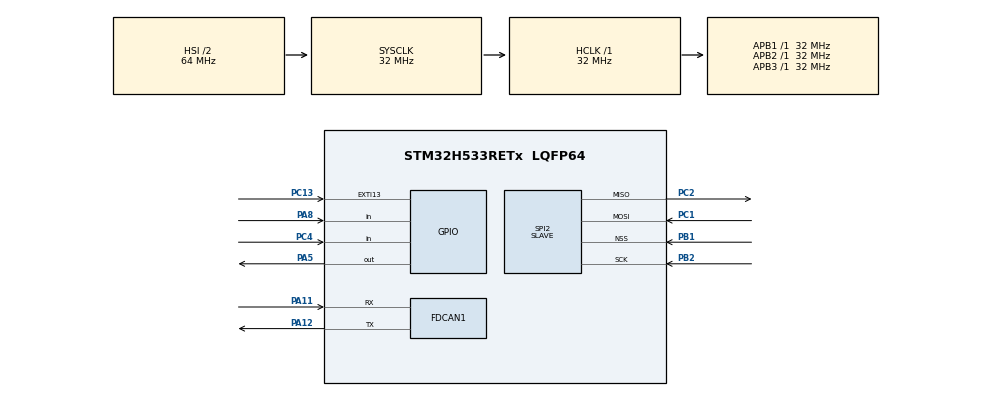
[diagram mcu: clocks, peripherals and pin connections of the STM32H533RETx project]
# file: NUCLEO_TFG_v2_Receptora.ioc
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BOOTPATH.BootPathName=LEGACY
BOOTPATH.UserSelectedBootPath=LEGACY
CORTEX_M33_NS.userName=CORTEX_M33
FDCAN1.CalculateBaudRateNominal=1011764
FDCAN1.CalculateTimeBitNominal=988
FDCAN1.CalculateTimeQuantumNominal=58.13953488372093
FDCAN1.DataSyncJumpWidth=4
FDCAN1.DataTimeSeg1=12
FDCAN1.DataTimeSeg2=4
FDCAN1.FrameFormat=FDCAN_FRAME_FD_BRS
FDCAN1.NominalPrescaler=5
FDCAN1.NominalSyncJumpWidth=4
FDCAN1.NominalTimeSeg1=12
FDCAN1.NominalTimeSeg2=4
Mcu.Family=STM32H5
Mcu.Name=STM32H533RETx
Mcu.Package=LQFP64
NUCLEO-H533RE.BUTTON=1
NUCLEO-H533RE.LD4=true
NUCLEO-H533RE.VCP=true
NVIC.EXTI13_IRQn=true\:0\:0\:false\:false\:true\:false\:true\:true
NVIC.PriorityGroup=NVIC_PRIORITYGROUP_4
PA11.Mode=FDCAN_Activate
PA11.Signal=FDCAN1_RX
PA12.Mode=FDCAN_Activate
PA12.Signal=FDCAN1_TX
PA13(JTMS/SWDIO).GPIO_Label=SWDIO
PA13(JTMS/SWDIO).Signal=DEBUG_JTMS-SWDIO
PA14(JTCK/SWCLK).GPIO_Label=SWCLK
PA14(JTCK/SWCLK).Signal=DEBUG_JTCK-SWCLK
PA15(JTDI).GPIO_Label=JTDI
PA15(JTDI).Signal=DEBUG_JTDI
PA2.Signal=USART2_TX
PA3.Signal=USART2_RX
PA5.Signal=GPIO_Output
PA8.Signal=GPIO_Input
PB1.Mode=NSS_Signal_Hard_Input
PB1.Signal=SPI2_NSS
PB2.Mode=Full_Duplex_Slave
PB2.Signal=SPI2_SCK
PB3(JTDO/TRACESWO).GPIO_Label=SWO
PB3(JTDO/TRACESWO).Signal=DEBUG_JTDO-SWO
PC1.Mode=Full_Duplex_Slave
PC1.Signal=SPI2_MOSI
PC13.Signal=GPXTI13
PC2.Mode=Full_Duplex_Slave
PC2.Signal=SPI2_MISO
PC4.Signal=GPIO_Input
ProjectManager.HeapSize=0x200
ProjectManager.StackSize=0x400
ProjectManager.TargetToolchain=STM32CubeIDE
RCC.ADCFreq_Value=32000000
RCC.AHBFreq_Value=32000000
RCC.APB1Freq_Value=32000000
RCC.APB1TimFreq_Value=32000000
RCC.APB2Freq_Value=32000000
RCC.APB2TimFreq_Value=32000000
RCC.APB3Freq_Value=32000000
RCC.CSI_VALUE=4000000
RCC.CortexFreq_Value=32000000
RCC.EPOD_VALUE=4000000
RCC.FDCANClockSelection=RCC_FDCANCLKSOURCE_PLL1Q
RCC.HCLKFreq_Value=32000000
RCC.HSE_VALUE=25000000
RCC.HSI48_VALUE=48000000
RCC.HSI_VALUE=64000000
RCC.LSE_VALUE=32768
RCC.LSIRC_VALUE=32000
RCC.PLL1Q=6
RCC.SYSCLKFreq_VALUE=32000000
RCC.USBFreq_Value=48000000
RCC.VCOOutputFreq_Value=516000000
SPI2.DataSize=SPI_DATASIZE_8BIT
SPI2.Direction=SPI_DIRECTION_2LINES
SPI2.Mode=SPI_MODE_SLAVE
SPI2.VirtualNSS=VM_NSSHARD
SPI2.VirtualType=VM_SLAVE
VP_BOOTPATH_VS_BOOTPATH.Mode=BP_Activate
VP_CORTEX_M33_NS_VS_Hclk.Mode=Hclk_Mode
VP_MEMORYMAP_VS_MEMORYMAP.Mode=CurAppReg
VP_NUCLEO-H533RE_VS_BSP_COMMON.Mode=COMMON
VP_PWR_VS_DBSignals.Mode=DisableDeadBatterySignals
VP_PWR_VS_LPOM.Mode=PowerOptimisation
VP_PWR_VS_SECSignals.Mode=Security/Privilege
board=NUCLEO-H533RE

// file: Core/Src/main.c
/* USER CODE BEGIN Header */
/**
  ******************************************************************************
  * @file           : main.c
  * @brief          : Main program body
  ******************************************************************************
  * @attention
  *
  * Copyright (c) 2026 STMicroelectronics.
  * All rights reserved.
  *
  * This software is licensed under terms that can be found in the LICENSE file
  * in the root directory of this software component.
  * If no LICENSE file comes with this software, it is provided AS-IS.
  *
  ******************************************************************************
  */
/* USER CODE END Header */
#include "main.h"

/* USER CODE BEGIN Includes */
#include <stdio.h>
/* USER CODE END Includes */

COM_InitTypeDef BspCOMInit;

FDCAN_HandleTypeDef hfdcan1;

SPI_HandleTypeDef hspi2;

void SystemClock_Config(void);
static void MX_GPIO_Init(void);
static void MX_FDCAN1_Init(void);
static void MX_SPI2_Init(void);

int main(void)
{

  /* MCU Configuration--------------------------------------------------------*/

  /* Reset of all peripherals, Initializes the Flash interface and the Systick. */
  HAL_Init();

  /* Configure the system clock */
  SystemClock_Config();

  /* Initialize all configured peripherals */
  MX_GPIO_Init();
  MX_FDCAN1_Init();
  MX_SPI2_Init();
  /* USER CODE BEGIN 2 */

  uint8_t spi_slave_tx[2] = {0x12, 0x34};  // Valor fijo de prueba (simula MAX6675)
  uint8_t spi_slave_rx[2] = {0};

  //FILTRO CAN

/*  FDCAN_FilterTypeDef sFilterConfig;

  sFilterConfig.IdType = FDCAN_STANDARD_ID;
  sFilterConfig.FilterIndex = 0;
  sFilterConfig.FilterType = FDCAN_FILTER_MASK;
  sFilterConfig.FilterConfig = FDCAN_FILTER_TO_RXFIFO0;
  sFilterConfig.FilterID1 = 0x111;
  sFilterConfig.FilterID2 = 0x7FF;
  if (HAL_FDCAN_ConfigFilter(&hfdcan1, &sFilterConfig) != HAL_OK)
  {
    Error_Handler();
  }

  if (HAL_FDCAN_Start(&hfdcan1) != HAL_OK)
  {
    Error_Handler();
  }

  printf("Nucleo B (Receptora) lista, esperando tramas...\r\n");*/

  /* USER CODE END 2 */

  /* Initialize leds */
  BSP_LED_Init(LED_GREEN);

  /* Initialize USER push-button, will be used to trigger an interrupt each time it's pressed.*/
  BSP_PB_Init(BUTTON_USER, BUTTON_MODE_EXTI);

  /* Initialize COM1 port (115200, 8 bits (7-bit data + 1 stop bit), no parity */
  BspCOMInit.BaudRate   = 115200;
  BspCOMInit.WordLength = COM_WORDLENGTH_8B;
  BspCOMInit.StopBits   = COM_STOPBITS_1;
  BspCOMInit.Parity     = COM_PARITY_NONE;
  BspCOMInit.HwFlowCtl  = COM_HWCONTROL_NONE;
  if (BSP_COM_Init(COM1, &BspCOMInit) != BSP_ERROR_NONE)
  {
    Error_Handler();
  }

  /* Infinite loop */
  /* USER CODE BEGIN WHILE */
  while (1)
  {

	  HAL_SPI_TransmitReceive(&hspi2, spi_slave_tx, spi_slave_rx, 2, HAL_MAX_DELAY);
	  FDCAN_RxHeaderTypeDef RxHeader;
	  uint8_t RxData[8];

	  if (HAL_FDCAN_GetRxFifoFillLevel(&hfdcan1, FDCAN_RX_FIFO0) > 0)
	  {
	    if (HAL_FDCAN_GetRxMessage(&hfdcan1, FDCAN_RX_FIFO0, &RxHeader, RxData) == HAL_OK)
	    {
	      uint16_t raw_s1 = (RxData[0] << 8) | RxData[1];
	      uint16_t raw_s2 = (RxData[2] << 8) | RxData[3];
	      float volt_s1 = (raw_s1 * 3.3f) / 4095.0f;
	      float volt_s2 = (raw_s2 * 3.3f) / 4095.0f;

	      printf("Recibido -> S1: %.2fV (raw=%u) | S2: %.2fV (raw=%u)\r\n",
	             volt_s1, raw_s1, volt_s2, raw_s2);

	      BSP_LED_Toggle(LED_GREEN);
	    }
	  }
    /* USER CODE END WHILE */

  }
}

void SystemClock_Config(void)
{
  RCC_OscInitTypeDef RCC_OscInitStruct = {0};
  RCC_ClkInitTypeDef RCC_ClkInitStruct = {0};

  /** Configure the main internal regulator output voltage
  */
  __HAL_PWR_VOLTAGESCALING_CONFIG(PWR_REGULATOR_VOLTAGE_SCALE3);

  while(!__HAL_PWR_GET_FLAG(PWR_FLAG_VOSRDY)) {}

  /** Initializes the RCC Oscillators according to the specified parameters
  * in the RCC_OscInitTypeDef structure.
  */
  RCC_OscInitStruct.OscillatorType = RCC_OSCILLATORTYPE_HSI|RCC_OSCILLATORTYPE_CSI;
  RCC_OscInitStruct.HSIState = RCC_HSI_ON;
  RCC_OscInitStruct.HSIDiv = RCC_HSI_DIV2;
  RCC_OscInitStruct.HSICalibrationValue = RCC_HSICALIBRATION_DEFAULT;
  RCC_OscInitStruct.CSIState = RCC_CSI_ON;
  RCC_OscInitStruct.CSICalibrationValue = RCC_CSICALIBRATION_DEFAULT;
  RCC_OscInitStruct.PLL.PLLState = RCC_PLL_ON;
  RCC_OscInitStruct.PLL.PLLSource = RCC_PLL1_SOURCE_CSI;
  RCC_OscInitStruct.PLL.PLLM = 1;
  RCC_OscInitStruct.PLL.PLLN = 129;
  RCC_OscInitStruct.PLL.PLLP = 2;
  RCC_OscInitStruct.PLL.PLLQ = 6;
  RCC_OscInitStruct.PLL.PLLR = 2;
  RCC_OscInitStruct.PLL.PLLRGE = RCC_PLL1_VCIRANGE_2;
  RCC_OscInitStruct.PLL.PLLVCOSEL = RCC_PLL1_VCORANGE_WIDE;
  RCC_OscInitStruct.PLL.PLLFRACN = 0;
  if (HAL_RCC_OscConfig(&RCC_OscInitStruct) != HAL_OK)
  {
    Error_Handler();
  }

  /** Initializes the CPU, AHB and APB buses clocks
  */
  RCC_ClkInitStruct.ClockType = RCC_CLOCKTYPE_HCLK|RCC_CLOCKTYPE_SYSCLK
                              |RCC_CLOCKTYPE_PCLK1|RCC_CLOCKTYPE_PCLK2
                              |RCC_CLOCKTYPE_PCLK3;
  RCC_ClkInitStruct.SYSCLKSource = RCC_SYSCLKSOURCE_HSI;
  RCC_ClkInitStruct.AHBCLKDivider = RCC_SYSCLK_DIV1;
  RCC_ClkInitStruct.APB1CLKDivider = RCC_HCLK_DIV1;
  RCC_ClkInitStruct.APB2CLKDivider = RCC_HCLK_DIV1;
  RCC_ClkInitStruct.APB3CLKDivider = RCC_HCLK_DIV1;

  if (HAL_RCC_ClockConfig(&RCC_ClkInitStruct, FLASH_LATENCY_1) != HAL_OK)
  {
    Error_Handler();
  }

  /** Configure the programming delay
  */
  __HAL_FLASH_SET_PROGRAM_DELAY(FLASH_PROGRAMMING_DELAY_0);
}

static void MX_FDCAN1_Init(void)
{

  hfdcan1.Instance = FDCAN1;
  hfdcan1.Init.ClockDivider = FDCAN_CLOCK_DIV1;
  hfdcan1.Init.FrameFormat = FDCAN_FRAME_FD_BRS;
  hfdcan1.Init.Mode = FDCAN_MODE_NORMAL;
  hfdcan1.Init.AutoRetransmission = DISABLE;
  hfdcan1.Init.TransmitPause = DISABLE;
  hfdcan1.Init.ProtocolException = DISABLE;
  hfdcan1.Init.NominalPrescaler = 5;
  hfdcan1.Init.NominalSyncJumpWidth = 4;
  hfdcan1.Init.NominalTimeSeg1 = 12;
  hfdcan1.Init.NominalTimeSeg2 = 4;
  hfdcan1.Init.DataPrescaler = 1;
  hfdcan1.Init.DataSyncJumpWidth = 4;
  hfdcan1.Init.DataTimeSeg1 = 12;
  hfdcan1.Init.DataTimeSeg2 = 4;
  hfdcan1.Init.StdFiltersNbr = 0;
  hfdcan1.Init.ExtFiltersNbr = 0;
  hfdcan1.Init.TxFifoQueueMode = FDCAN_TX_FIFO_OPERATION;
  if (HAL_FDCAN_Init(&hfdcan1) != HAL_OK)
  {
    Error_Handler();
  }

}

static void MX_SPI2_Init(void)
{

  /* SPI2 parameter configuration*/
  hspi2.Instance = SPI2;
  hspi2.Init.Mode = SPI_MODE_SLAVE;
  hspi2.Init.Direction = SPI_DIRECTION_2LINES;
  hspi2.Init.DataSize = SPI_DATASIZE_8BIT;
  hspi2.Init.CLKPolarity = SPI_POLARITY_LOW;
  hspi2.Init.CLKPhase = SPI_PHASE_1EDGE;
  hspi2.Init.NSS = SPI_NSS_HARD_INPUT;
  hspi2.Init.FirstBit = SPI_FIRSTBIT_MSB;
  hspi2.Init.TIMode = SPI_TIMODE_DISABLE;
  hspi2.Init.CRCCalculation = SPI_CRCCALCULATION_DISABLE;
  hspi2.Init.CRCPolynomial = 0x7;
  hspi2.Init.NSSPMode = SPI_NSS_PULSE_DISABLE;
  hspi2.Init.NSSPolarity = SPI_NSS_POLARITY_LOW;
  hspi2.Init.FifoThreshold = SPI_FIFO_THRESHOLD_01DATA;
  hspi2.Init.MasterSSIdleness = SPI_MASTER_SS_IDLENESS_00CYCLE;
  hspi2.Init.MasterInterDataIdleness = SPI_MASTER_INTERDATA_IDLENESS_00CYCLE;
  hspi2.Init.MasterReceiverAutoSusp = SPI_MASTER_RX_AUTOSUSP_DISABLE;
  hspi2.Init.MasterKeepIOState = SPI_MASTER_KEEP_IO_STATE_DISABLE;
  hspi2.Init.IOSwap = SPI_IO_SWAP_DISABLE;
  hspi2.Init.ReadyMasterManagement = SPI_RDY_MASTER_MANAGEMENT_INTERNALLY;
  hspi2.Init.ReadyPolarity = SPI_RDY_POLARITY_HIGH;
  if (HAL_SPI_Init(&hspi2) != HAL_OK)
  {
    Error_Handler();
  }

}

static void MX_GPIO_Init(void)
{
  GPIO_InitTypeDef GPIO_InitStruct = {0};

  /* GPIO Ports Clock Enable */
  __HAL_RCC_GPIOC_CLK_ENABLE();
  __HAL_RCC_GPIOB_CLK_ENABLE();
  __HAL_RCC_GPIOA_CLK_ENABLE();

  /*Configure GPIO pin : PC4 */
  GPIO_InitStruct.Pin = GPIO_PIN_4;
  GPIO_InitStruct.Mode = GPIO_MODE_INPUT;
  GPIO_InitStruct.Pull = GPIO_NOPULL;
  HAL_GPIO_Init(GPIOC, &GPIO_InitStruct);

  /*Configure GPIO pin : PA8 */
  GPIO_InitStruct.Pin = GPIO_PIN_8;
  GPIO_InitStruct.Mode = GPIO_MODE_INPUT;
  GPIO_InitStruct.Pull = GPIO_NOPULL;
  HAL_GPIO_Init(GPIOA, &GPIO_InitStruct);

}

void Error_Handler(void)
{
  __disable_irq();
  while (1)
  {
  }
}
